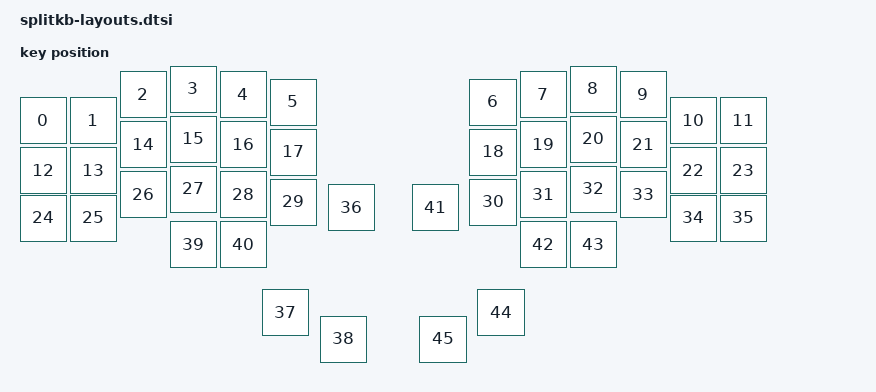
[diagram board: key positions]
/*
 * Physical layout do "The Big Zero" — necessario pro ZMK Studio.
 * Posicoes geradas a partir das coordenadas reais do keyboard_base_plate_left.scad
 * (pitch choc 19mm -> 100 centi-keyunits). Ordem = mesma do default_transform.
 *
 * Layout: 6 colunas x 3 fileiras por lado + 2 teclas extras de indice + 3 polegares.
 */

#include <physical_layouts.dtsi>

/ {
    default_layout: default_layout {
        compatible = "zmk,physical-layout";
        display-name = "The Big Zero";
        transform = <&default_transform>;
        kscan = <&kscan0>;

        keys  //                     w   h    x    y     rot    rx    ry
            = <&key_physical_attrs 100 100    0   63       0     0     0>
            , <&key_physical_attrs 100 100  100   63       0     0     0>
            , <&key_physical_attrs 100 100  200   11       0     0     0>
            , <&key_physical_attrs 100 100  300    0       0     0     0>
            , <&key_physical_attrs 100 100  400   11       0     0     0>
            , <&key_physical_attrs 100 100  500   26       0     0     0>
            , <&key_physical_attrs 100 100  900   26       0     0     0>
            , <&key_physical_attrs 100 100 1000   11       0     0     0>
            , <&key_physical_attrs 100 100 1100    0       0     0     0>
            , <&key_physical_attrs 100 100 1200   11       0     0     0>
            , <&key_physical_attrs 100 100 1300   63       0     0     0>
            , <&key_physical_attrs 100 100 1400   63       0     0     0>

            , <&key_physical_attrs 100 100    0  163       0     0     0>
            , <&key_physical_attrs 100 100  100  163       0     0     0>
            , <&key_physical_attrs 100 100  200  111       0     0     0>
            , <&key_physical_attrs 100 100  300  100       0     0     0>
            , <&key_physical_attrs 100 100  400  111       0     0     0>
            , <&key_physical_attrs 100 100  500  126       0     0     0>
            , <&key_physical_attrs 100 100  900  126       0     0     0>
            , <&key_physical_attrs 100 100 1000  111       0     0     0>
            , <&key_physical_attrs 100 100 1100  100       0     0     0>
            , <&key_physical_attrs 100 100 1200  111       0     0     0>
            , <&key_physical_attrs 100 100 1300  163       0     0     0>
            , <&key_physical_attrs 100 100 1400  163       0     0     0>

            , <&key_physical_attrs 100 100    0  258       0     0     0>
            , <&key_physical_attrs 100 100  100  258       0     0     0>
            , <&key_physical_attrs 100 100  200  211       0     0     0>
            , <&key_physical_attrs 100 100  300  200       0     0     0>
            , <&key_physical_attrs 100 100  400  211       0     0     0>
            , <&key_physical_attrs 100 100  500  226       0     0     0>
            , <&key_physical_attrs 100 100  900  226       0     0     0>
            , <&key_physical_attrs 100 100 1000  211       0     0     0>
            , <&key_physical_attrs 100 100 1100  200       0     0     0>
            , <&key_physical_attrs 100 100 1200  211       0     0     0>
            , <&key_physical_attrs 100 100 1300  258       0     0     0>
            , <&key_physical_attrs 100 100 1400  258       0     0     0>

            , <&key_physical_attrs 100 100  616  237       0     0     0>
            , <&key_physical_attrs 100 100  484  447       0     0     0>
            , <&key_physical_attrs 100 100  600  500       0     0     0>
            , <&key_physical_attrs 100 100  300  311       0     0     0>
            , <&key_physical_attrs 100 100  400  311       0     0     0>
            , <&key_physical_attrs 100 100  784  237       0     0     0>
            , <&key_physical_attrs 100 100 1000  311       0     0     0>
            , <&key_physical_attrs 100 100 1100  311       0     0     0>
            , <&key_physical_attrs 100 100  916  447       0     0     0>
            , <&key_physical_attrs 100 100  800  500       0     0     0>
            ;
    };
};
